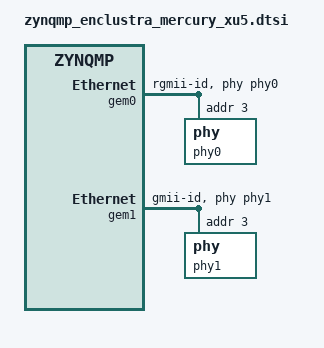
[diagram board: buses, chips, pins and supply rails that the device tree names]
/ {
    aliases {
        ethernet0 = &gem0;
        ethernet1 = &gem1;
        i2c0 = &i2c0;
        serial0 = &uart0;
        spi0 = &qspi;
    };
};

// From the Enclustra reference:
//   https://github.com/enclustra/Mercury_XU5_ST1_Reference_Design/blob/master/petalinux/ME-XU5-4EV-1I-D11E_ST1/sd/project-spec/meta-user/recipes-bsp/device-tree/files/zynqmp_enclustra_mercury_xu5.dtsi

&gem0 {
    status = "okay";
    /delete-property/ local-mac-address;
    phy-mode = "rgmii-id";
    phy-handle = <&phy0>;
    phy0: phy@3 {
        reg = <3>;

        txc-skew-ps = <1800>;
        txen-skew-ps = <420>;

        txd0-skew-ps = <420>;
        txd1-skew-ps = <420>;
        txd2-skew-ps = <420>;
        txd3-skew-ps = <420>;

        rxc-skew-ps = <900>;
        rxdv-skew-ps = <420>;

        rxd0-skew-ps = <420>;
        rxd1-skew-ps = <420>;
        rxd2-skew-ps = <420>;
        rxd3-skew-ps = <420>;       
    };
};

&gem1 {
    status = "okay";
    /delete-property/ local-mac-address;
    phy-mode = "gmii-id";
    phy-handle = <&phy1>;
        phy1: phy@3 {
        reg = <3>;

        txc-skew-ps = <900>;
        txen-skew-ps = <420>;

        txd0-skew-ps = <420>;
        txd1-skew-ps = <420>;
        txd2-skew-ps = <420>;
        txd3-skew-ps = <420>;

        rxc-skew-ps = <1680>;
        rxdv-skew-ps = <420>;

        rxd0-skew-ps = <420>;
        rxd1-skew-ps = <420>;
        rxd2-skew-ps = <420>;
        rxd3-skew-ps = <420>;       
    };
};
